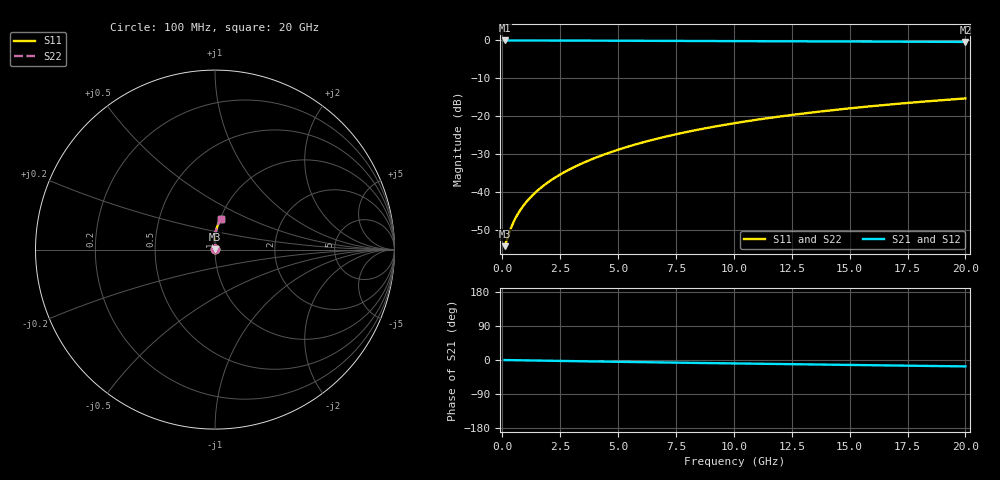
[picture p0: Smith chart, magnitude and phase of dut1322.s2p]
! Touchstone file exported from HFSS 2024.1.0
!  File:  C:/UserFiles/LocalFiles/RDL_TSV_Batchsim/temp_RDL_top_1322_1780365091.aedt
!  Generated:  09:53:58 AM Jun  2, 2026
!  Design:  RDL_top
!  Project:  temp_RDL_top_1322_1780365091
!  Setup:  Setup1
!  Solution:  Sweep
! Variables:
!  dtsv = 10.80580581um
!  hbump = 3um
!  htsv = 54.49um
!  ldown = 100um
!  lrdl = 215.52um
!  p = 40
!  p1 = 49.67um
!  rhole = 1um
!  t = 450um
!  tdown = 3.915915916um
!  trdl = 2.09um
!  wdown = 15.38538539um
!  wrdl = 27.5um
# GHz S MA R 50.000000
! Terminal data exported
! Port[1] = Box2_T1
! Port[2] = Box2_T2
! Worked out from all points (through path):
!   200 points, 100 MHz to 20 GHz, reference 50 ohm
!   highest |S21| = -0.02 dB at 100 MHz (marker M1); lowest = -0.4 dB at 20 GHz (marker M2)
!   group delay of S21, straight-line fit = 2.31 ps
!   lowest |S11| = -54.3 dB at 100 MHz (marker M3), VSWR 1.00, Z = 50.2 + j0.0766 ohm
!   |S11| at or under -10 dB: start of sweep to end of sweep
!   |S22| runs from -54.3 to -15.3 dB; largest |S21 - S12| = 3.9e-15
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0.1  0.001938 23.2  0.9982 -0.1  0.9982 -0.1  0.001938 23.2
! Gamma 0 0 0 0
! Port Impedance 50 0 50 0
0.3  0.002919 49.8  0.9981 -0.3  0.9981 -0.3  0.002919 49.8
0.4  0.003512 56.5  0.998 -0.4  0.998 -0.4  0.003512 56.5
0.6  0.004722 64.6  0.9978 -0.6  0.9978 -0.6  0.004722 64.6
0.7  0.00533 67.3  0.9977 -0.7  0.9977 -0.7  0.00533 67.3
0.9  0.006552 71.6  0.9975 -0.9  0.9975 -0.9  0.006552 71.6
1.2  0.008417 76.2  0.9971 -1.2  0.9971 -1.2  0.008417 76.2
1.4  0.009688 78.4  0.9969 -1.4  0.9969 -1.4  0.009688 78.4
1.7  0.01164 81.1  0.9966 -1.7  0.9966 -1.7  0.01164 81.1
2.2  0.01499 84.3  0.9959 -2.2  0.9959 -2.2  0.01499 84.3
2.8  0.01919 86.9  0.9949 -2.8  0.9949 -2.8  0.01919 86.9
3.5  0.02434 89.0  0.9935 -3.4  0.9935 -3.4  0.02434 89.0
4.2  0.02974 90.3  0.992 -4.1  0.992 -4.1  0.02973 90.3
5  0.03619 91.1  0.9901 -4.8  0.9901 -4.8  0.03619 91.1
5.9  0.04377 91.6  0.9879 -5.6  0.9879 -5.6  0.04377 91.6
6.8  0.05162 91.6  0.9856 -6.4  0.9856 -6.4  0.05162 91.6
8.4  0.06603 90.8  0.9816 -7.7  0.9816 -7.7  0.06603 90.8
10.1  0.08172 89.5  0.9775 -9.1  0.9775 -9.1  0.08171 89.5
11.7  0.09659 88.0  0.9737 -10.4  0.9737 -10.4  0.09659 88.0
13.4  0.1124 86.3  0.9698 -11.8  0.9698 -11.8  0.1124 86.3
16.7  0.1425 83.0  0.9625 -14.4  0.9625 -14.4  0.1425 83.0
20  0.1719 79.7  0.9551 -16.9  0.9551 -16.9  0.1719 79.7
